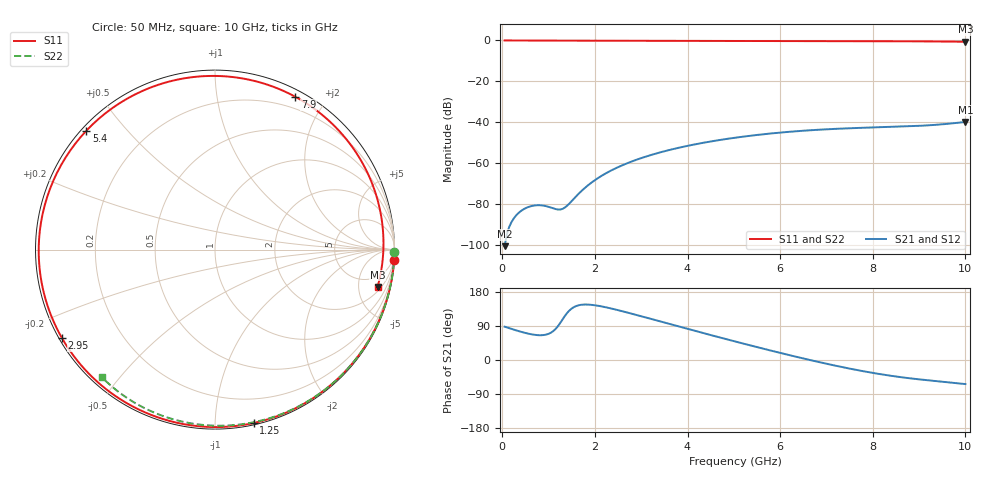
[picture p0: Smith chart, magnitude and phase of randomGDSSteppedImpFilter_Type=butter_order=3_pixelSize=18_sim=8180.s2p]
! freq	dB(S11)	phase(S11)	dB(S12)	phase(S12)
!  dB(S21)	phase(S21)	dB(S22)	phase(S22)
!S-par simulation data
#  GHz  S  DB  R 50
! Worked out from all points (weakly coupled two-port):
!   200 points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, 50 MHz to 10 GHz, reference 50 ohm
!   highest |S21| = -39.77 dB at 10 GHz (marker M1); lowest = -100.5 dB at 50 MHz (marker M2)
!   lowest |S11| = -0.6 dB at 10 GHz (marker M3), VSWR 27.22, Z = 131 - j398 ohm
!   |S11| at or under -10 dB: nowhere
!   |S22| runs from -0.4 to 0.0 dB; largest |S21 - S12| = 0
!   S11 on the Smith chart (normalised r, x): 50 MHz: 0, -34; 1.25 GHz: 0.01, -1.25; 2.95 GHz: 0.01, -0.27; 5.4 GHz: 0.01, +0.39; 7.9 GHz: 0.07, +1.65; 10 GHz: 2.62, -7.97
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0.05  -0.00 -3.4  -100.45 88.0  -100.45 88.0  -0.00 -0.8
0.35  -0.03 -23.3  -84.25 76.3  -84.25 76.3  -0.01 -5.3
0.7  -0.06 -45.6  -80.57 66.4  -80.57 66.4  -0.01 -10.6
0.95  -0.07 -60.6  -80.93 67.1  -80.93 67.1  -0.02 -14.3
1.25  -0.09 -77.4  -82.56 97.6  -82.56 97.6  -0.02 -18.8
1.45  -0.10 -87.8  -79.58 130.8  -79.58 130.8  -0.03 -21.8
1.75  -0.11 -102.4  -72.67 146.2  -72.67 146.2  -0.03 -26.2
2.25  -0.12 -124.0  -64.71 138.8  -64.71 138.8  -0.04 -33.5
2.95  -0.13 -149.9  -57.83 117.1  -57.83 117.1  -0.06 -43.6
3.4  -0.14 -164.7  -54.71 102.2  -54.71 102.2  -0.07 -50.0
4.2  -0.17 171.2  -50.55 75.6  -50.55 75.6  -0.09 -61.0
5.05  -0.20 147.0  -47.42 48.2  -47.42 48.2  -0.11 -72.3
5.4  -0.21 137.2  -46.41 37.1  -46.41 37.1  -0.12 -76.9
6.1  -0.24 117.3  -44.79 15.8  -44.79 15.8  -0.15 -85.8
6.7  -0.27 99.8  -43.77 -1.6  -43.77 -1.6  -0.18 -93.2
7.3  -0.30 81.5  -43.05 -17.7  -43.05 -17.7  -0.21 -100.4
7.9  -0.34 62.2  -42.56 -31.9  -42.56 -31.9  -0.25 -107.6
8.35  -0.37 47.2  -42.26 -40.9  -42.26 -40.9  -0.29 -112.8
8.8  -0.42 31.6  -41.91 -48.3  -41.91 -48.3  -0.33 -118.0
9.2  -0.47 17.2  -41.44 -53.7  -41.44 -53.7  -0.36 -122.6
9.6  -0.54 2.4  -40.74 -58.4  -40.74 -58.4  -0.40 -127.1
10  -0.64 -12.9  -39.77 -63.5  -39.77 -63.5  -0.44 -131.6
